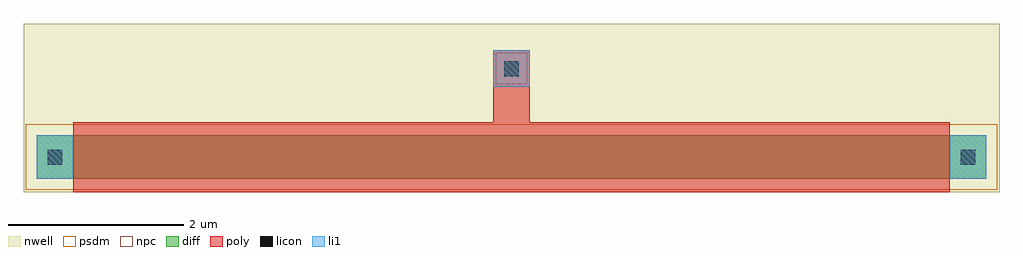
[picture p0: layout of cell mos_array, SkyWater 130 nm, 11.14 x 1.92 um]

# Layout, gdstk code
import gdstk
lib = gdstk.Library(unit=1e-6, precision=1e-09)
def R(c, l, rs):  # rectangles x0, y0, x1, y1
    for r in rs: c.add(gdstk.rectangle(r[:2], r[2:], *l))
nwell = (64, 20)
diff = (65, 20)
poly = (66, 20)
licon = (66, 44)
li1 = (67, 20)
psdm = (94, 20)
npc = (95, 20)

mos_array = lib.new_cell('mos_array')
R(mos_array, nwell, [(-0.15,-0.15,10.99,1.77)])
R(mos_array, diff, [(0,0,10.84,0.5)])
R(mos_array, poly, [(0.42,-0.15,10.42,0.5), (0.42,0.5,10.42,0.65), (0.42,0.5,10.42,0.65), (5.21,0.65,5.63,1.47)])
R(mos_array, licon, [(0.125,0.165,0.295,0.335), (10.545,0.165,10.715,0.335), (5.335,1.175,5.505,1.345)])
R(mos_array, li1, [(0,0,0.42,0.5), (10.42,0,10.84,0.5), (5.21,1.05,5.63,1.47)])
R(mos_array, psdm, [(-0.125,-0.125,10.965,0.625)])
R(mos_array, npc, [(5.24,1.08,5.6,1.44)])

lib.write_gds('mos_array.gds')
